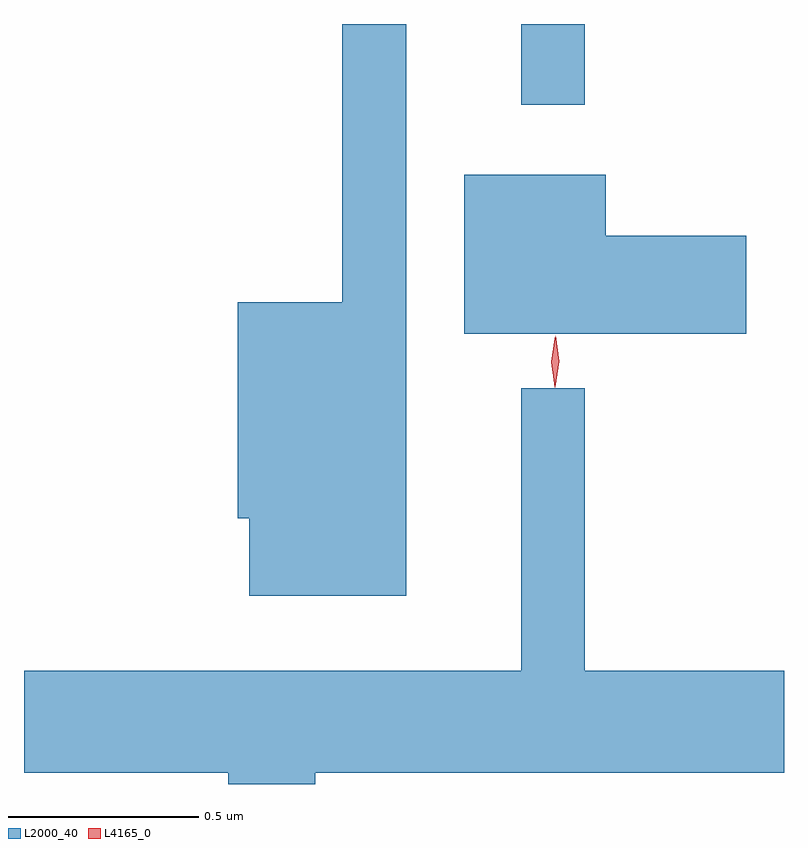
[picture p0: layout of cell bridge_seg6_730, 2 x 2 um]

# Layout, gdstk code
import gdstk
lib = gdstk.Library(unit=1e-6, precision=1e-09)
def R(c, l, rs):  # rectangles x0, y0, x1, y1
    for r in rs: c.add(gdstk.rectangle(r[:2], r[2:], *l))
def P(c, l, *ps):  # polygons
    for p in ps: c.add(gdstk.Polygon(p, *l))
L2000_40 = (2000, 40)
L4165_0 = (4165, 0)

bridge_seg6_730 = lib.new_cell('bridge_seg6_730')
R(bridge_seg6_730, L2000_40, [(385.101,1573.993,385.269,1574.206)])
P(bridge_seg6_730, L2000_40, [(384.799,1574.206),(384.631,1574.206),(384.631,1573.474),(384.356,1573.474),(384.356,1572.906),(384.386,1572.906),(384.386,1572.701),(384.799,1572.701)],
  [(385.694,1573.649),(385.324,1573.649),(385.324,1573.809),(384.951,1573.809),(384.951,1573.391),(385.694,1573.391)],
  [(384.559,1572.236),(385.793,1572.236),(385.793,1572.504),(385.269,1572.504),(385.269,1573.248),(385.101,1573.248),(385.101,1572.504),(383.793,1572.504),(383.793,1572.236),(384.331,1572.236),(384.331,1572.206),(384.559,1572.206)])
P(bridge_seg6_730, L4165_0, [(385.19,1573.25),(385.19,1573.25),(385.181,1573.318),(385.192,1573.386),(385.192,1573.386),(385.192,1573.386),(385.201,1573.318),(385.191,1573.25)],
  [(385.19,1573.253),(385.19,1573.253),(385.18,1573.316),(385.19,1573.379),(385.19,1573.38),(385.191,1573.379),(385.2,1573.316),(385.191,1573.253)])

lib.write_gds('bridge_seg6_730.gds')
